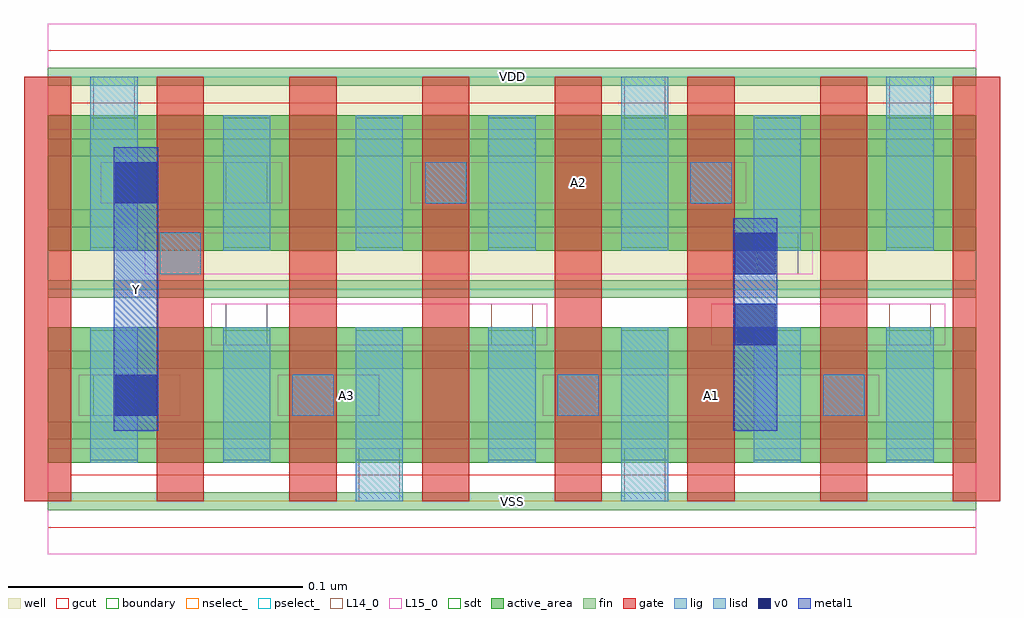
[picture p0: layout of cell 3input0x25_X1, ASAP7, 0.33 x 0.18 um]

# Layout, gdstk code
import gdstk
lib = gdstk.Library(unit=1e-6, precision=2.5e-10)
def R(c, l, rs):  # rectangles x0, y0, x1, y1
    for r in rs: c.add(gdstk.rectangle(r[:2], r[2:], *l))
def A(c, l, x, y, w, h, nx, ny, dx, dy):  # array of equal rectangles
    R(c, l, [(x+i*dx, y+j*dy, x+i*dx+w, y+j*dy+h) for i in range(nx) for j in range(ny)])
def P(c, l, *ps):  # polygons
    for p in ps: c.add(gdstk.Polygon(p, *l))
well = (1, 0)
fin = (2, 0)
gate = (7, 0)
gcut = (10, 0)
active_area = (11, 0)
nselect_ = (12, 0)
pselect_ = (13, 0)
L14_0 = (14, 0)
L15_0 = (15, 0)
lig = (16, 0)
lisd = (17, 0)
v0 = (18, 0)
metal1 = (19, 0)
sdt = (88, 0)
boundary = (100, 0)

c_3input0x25_x1 = lib.new_cell('3input0x25_X1')
R(c_3input0x25_x1, well, [(0,0.072,0.315,0.144)])
A(c_3input0x25_x1, fin, 0, -0.003, 0.315, 0.006, 1, 7, 0, 0.024)
A(c_3input0x25_x1, gate, -0.008, 0, 0.016, 0.144, 8, 1, 0.045, 0)
P(c_3input0x25_x1, gcut, [(0,-0.009),(0,0),(-0.008,0),(-0.008,0.135),(0.008,0.135),(0.008,0.009),(0.307,0.009),(0.307,0.135),(-0.008,0.135),(-0.008,0.144),(0,0.144),(0,0.153),(0.315,0.153),(0.315,0.144),(0.323,0.144),(0.323,0),(0.315,0),(0.315,-0.009)])
R(c_3input0x25_x1, active_area, [(0,0.013,0.315,0.059), (0,0.085,0.315,0.131)])
R(c_3input0x25_x1, nselect_, [(0,0,0.315,0.072)])
R(c_3input0x25_x1, pselect_, [(0,0.072,0.315,0.144)])
A(c_3input0x25_x1, L14_0, 0.083, 0.029, 0.014, 0.014, 3, 1, 0.09, 0)
R(c_3input0x25_x1, L14_0, [(0.1055,0,0.1195,0.018), (0.1955,0,0.2095,0.018), (0.0155,0.029,0.0295,0.043), (0.0605,0.053,0.0745,0.067), (0.1505,0.053,0.1645,0.067), (0.2855,0.053,0.2995,0.067), (0.038,0.077,0.052,0.091), (0.2405,0.077,0.2545,0.091), (0.0605,0.101,0.0745,0.115), (0.128,0.101,0.142,0.115), (0.218,0.101,0.232,0.115), (0.0155,0.126,0.0295,0.144), (0.1955,0.126,0.2095,0.144), (0.2855,0.126,0.2995,0.144)])
R(c_3input0x25_x1, L15_0, [(0,-0.018,0.315,0.018), (0.0105,0.029,0.045,0.043), (0.078,0.029,0.1125,0.043), (0.168,0.029,0.282,0.043), (0.0555,0.053,0.1695,0.067), (0.225,0.053,0.3045,0.067), (0.033,0.077,0.2595,0.091), (0.018,0.101,0.0795,0.115), (0.123,0.101,0.237,0.115), (0,0.126,0.315,0.162)])
A(c_3input0x25_x1, lig, 0.083, 0.029, 0.014, 0.014, 3, 1, 0.09, 0)
R(c_3input0x25_x1, lig, [(0.038,0.077,0.052,0.091), (0.128,0.101,0.142,0.115), (0.218,0.101,0.232,0.115)])
A(c_3input0x25_x1, lisd, 0.0595, 0.013, 0.016, 0.046, 3, 1, 0.09, 0)
A(c_3input0x25_x1, lisd, 0.0595, 0.085, 0.016, 0.046, 3, 1, 0.045, 0)
R(c_3input0x25_x1, lisd, [(0.1045,0,0.1205,0.059), (0.1945,0,0.2105,0.059), (0.0145,0.013,0.0305,0.059), (0.2845,0.013,0.3005,0.059), (0.0145,0.085,0.0305,0.144), (0.1945,0.085,0.2105,0.144), (0.2395,0.085,0.2555,0.131), (0.2845,0.085,0.3005,0.144)])
R(c_3input0x25_x1, v0, [(0.023,0.029,0.037,0.043), (0.233,0.053,0.247,0.067), (0.233,0.077,0.247,0.091), (0.023,0.101,0.037,0.115)])
R(c_3input0x25_x1, metal1, [(0.0225,0.024,0.0375,0.12), (0.2325,0.024,0.2475,0.096)])
A(c_3input0x25_x1, sdt, 0.0145, 0.014, 0.016, 0.044, 7, 2, 0.045, 0.072)
R(c_3input0x25_x1, boundary, [(0,0,0.315,0.144)])
c_3input0x25_x1.add(gdstk.Label('A2', (0.18,0.108), layer=15, texttype=251))
c_3input0x25_x1.add(gdstk.Label('VSS', (0.1575,0), layer=15, texttype=251))
c_3input0x25_x1.add(gdstk.Label('VDD', (0.1575,0.144), layer=15, texttype=251))
c_3input0x25_x1.add(gdstk.Label('A1', (0.225,0.036), layer=15, texttype=251))
c_3input0x25_x1.add(gdstk.Label('VSS', (0.1575,0), layer=15, texttype=251))
c_3input0x25_x1.add(gdstk.Label('VDD', (0.1575,0.144), layer=15, texttype=251))
c_3input0x25_x1.add(gdstk.Label('A3', (0.1013,0.036), layer=15, texttype=251))
c_3input0x25_x1.add(gdstk.Label('VSS', (0.1575,0), layer=15, texttype=251))
c_3input0x25_x1.add(gdstk.Label('VDD', (0.1575,0.144), layer=15, texttype=251))
c_3input0x25_x1.add(gdstk.Label('VSS', (0.1575,0), layer=15, texttype=251))
c_3input0x25_x1.add(gdstk.Label('VDD', (0.1575,0.144), layer=15, texttype=251))
c_3input0x25_x1.add(gdstk.Label('VSS', (0.1575,0), layer=3, texttype=251))
c_3input0x25_x1.add(gdstk.Label('VSS', (0.1575,0), layer=3, texttype=251))
c_3input0x25_x1.add(gdstk.Label('VSS', (0.1575,0), layer=3, texttype=251))
c_3input0x25_x1.add(gdstk.Label('VSS', (0.1575,0), layer=3, texttype=251))
c_3input0x25_x1.add(gdstk.Label('VDD', (0.1575,0.144), layer=1, texttype=251))
c_3input0x25_x1.add(gdstk.Label('VDD', (0.1575,0.144), layer=1, texttype=251))
c_3input0x25_x1.add(gdstk.Label('VDD', (0.1575,0.144), layer=1, texttype=251))
c_3input0x25_x1.add(gdstk.Label('VDD', (0.1575,0.144), layer=1, texttype=251))
c_3input0x25_x1.add(gdstk.Label('Y', (0.03,0.072), layer=19, texttype=251))

lib.write_gds('3input0x25_X1.gds')
